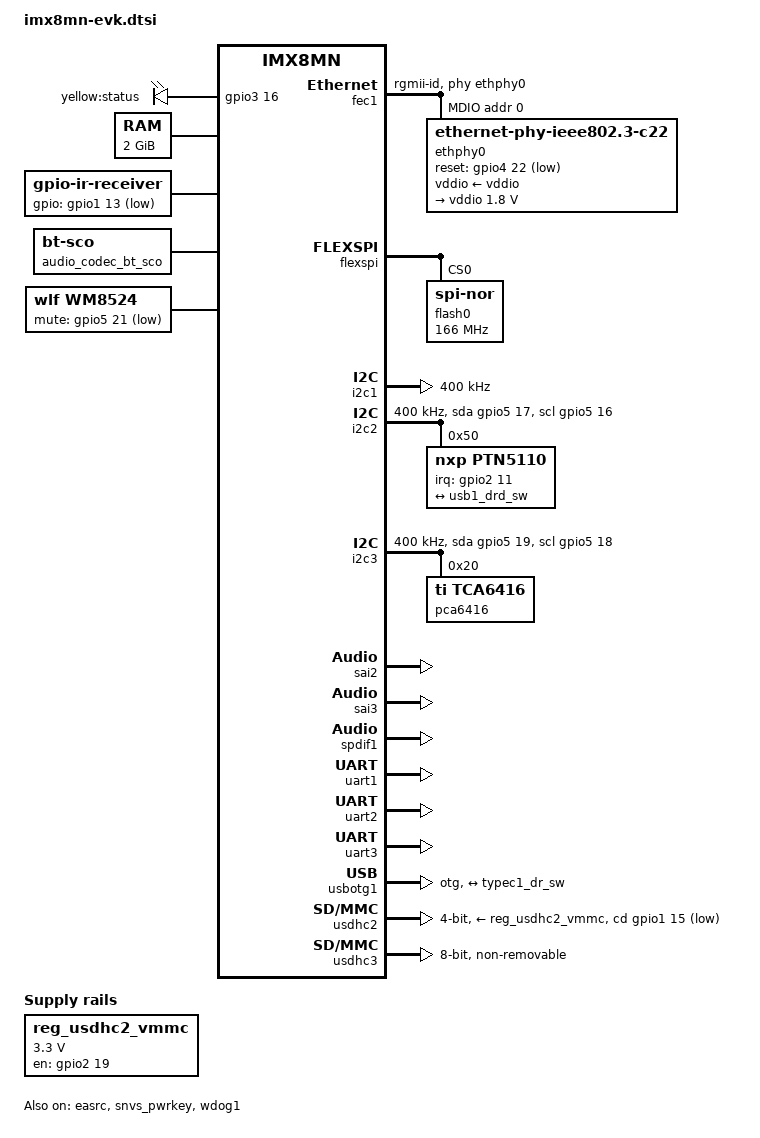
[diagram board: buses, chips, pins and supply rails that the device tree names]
// SPDX-License-Identifier: (GPL-2.0+ OR MIT)
/*
 * Copyright 2019 NXP
 */

#include <dt-bindings/usb/pd.h>
#include "imx8mn.dtsi"

/ {
	chosen {
		stdout-path = &uart2;
	};

	gpio-leds {
		compatible = "gpio-leds";
		pinctrl-names = "default";
		pinctrl-0 = <&pinctrl_gpio_led>;

		status {
			label = "yellow:status";
			gpios = <&gpio3 16 GPIO_ACTIVE_HIGH>;
			default-state = "on";
		};
	};

	memory@40000000 {
		device_type = "memory";
		reg = <0x0 0x40000000 0 0x80000000>;
	};

	reg_usdhc2_vmmc: regulator-usdhc2 {
		compatible = "regulator-fixed";
		pinctrl-names = "default";
		pinctrl-0 = <&pinctrl_reg_usdhc2_vmmc>;
		regulator-name = "VSD_3V3";
		regulator-min-microvolt = <3300000>;
		regulator-max-microvolt = <3300000>;
		gpio = <&gpio2 19 GPIO_ACTIVE_HIGH>;
		off-on-delay-us = <12000>;
		enable-active-high;
	};

	ir-receiver {
		compatible = "gpio-ir-receiver";
		gpios = <&gpio1 13 GPIO_ACTIVE_LOW>;
		pinctrl-names = "default";
		pinctrl-0 = <&pinctrl_ir>;
		linux,autosuspend-period = <125>;
	};

	audio_codec_bt_sco: audio-codec-bt-sco {
		compatible = "linux,bt-sco";
		#sound-dai-cells = <1>;
	};

	wm8524: audio-codec {
		#sound-dai-cells = <0>;
		compatible = "wlf,wm8524";
		pinctrl-names = "default";
		pinctrl-0 = <&pinctrl_gpio_wlf>;
		wlf,mute-gpios = <&gpio5 21 GPIO_ACTIVE_LOW>;
		clocks = <&clk IMX8MN_CLK_SAI3_ROOT>;
		clock-names = "mclk";
	};

	sound-bt-sco {
		compatible = "simple-audio-card";
		simple-audio-card,name = "bt-sco-audio";
		simple-audio-card,format = "dsp_a";
		simple-audio-card,bitclock-inversion;
		simple-audio-card,frame-master = <&btcpu>;
		simple-audio-card,bitclock-master = <&btcpu>;

		btcpu: simple-audio-card,cpu {
			sound-dai = <&sai2>;
			dai-tdm-slot-num = <2>;
			dai-tdm-slot-width = <16>;
		};

		simple-audio-card,codec {
			sound-dai = <&audio_codec_bt_sco 1>;
		};
	};

	sound-wm8524 {
		compatible = "fsl,imx-audio-wm8524";
		model = "wm8524-audio";
		audio-cpu = <&sai3>;
		audio-codec = <&wm8524>;
		audio-asrc = <&easrc>;
		audio-routing =
			"Line Out Jack", "LINEVOUTL",
			"Line Out Jack", "LINEVOUTR";
	};

	sound-spdif {
		compatible = "fsl,imx-audio-spdif";
		model = "imx-spdif";
		spdif-controller = <&spdif1>;
		spdif-out;
		spdif-in;
	};
};

&easrc {
	fsl,asrc-rate = <48000>;
	status = "okay";
};

&fec1 {
	pinctrl-names = "default";
	pinctrl-0 = <&pinctrl_fec1>;
	phy-mode = "rgmii-id";
	phy-handle = <&ethphy0>;
	fsl,magic-packet;
	status = "okay";

	mdio {
		#address-cells = <1>;
		#size-cells = <0>;

		ethphy0: ethernet-phy@0 {
			compatible = "ethernet-phy-ieee802.3-c22";
			reg = <0>;
			reset-gpios = <&gpio4 22 GPIO_ACTIVE_LOW>;
			reset-assert-us = <10000>;
			qca,disable-smarteee;
			vddio-supply = <&vddio>;

			vddio: vddio-regulator {
				regulator-min-microvolt = <1800000>;
				regulator-max-microvolt = <1800000>;
			};
		};
	};
};

&flexspi {
	pinctrl-names = "default";
	pinctrl-0 = <&pinctrl_flexspi>;
	status = "okay";

	flash0: flash@0 {
		compatible = "jedec,spi-nor";
		reg = <0>;
		#address-cells = <1>;
		#size-cells = <1>;
		spi-max-frequency = <166000000>;
		spi-tx-bus-width = <4>;
		spi-rx-bus-width = <4>;
	};
};

&i2c1 {
	clock-frequency = <400000>;
	pinctrl-names = "default";
	pinctrl-0 = <&pinctrl_i2c1>;
	status = "okay";
};

&i2c2 {
	clock-frequency = <400000>;
	pinctrl-names = "default", "gpio";
	pinctrl-0 = <&pinctrl_i2c2>;
	pinctrl-1 = <&pinctrl_i2c2_gpio>;
	scl-gpios = <&gpio5 16 GPIO_ACTIVE_HIGH>;
	sda-gpios = <&gpio5 17 GPIO_ACTIVE_HIGH>;
	status = "okay";

	ptn5110: tcpc@50 {
		compatible = "nxp,ptn5110";
		pinctrl-names = "default";
		pinctrl-0 = <&pinctrl_typec1>;
		reg = <0x50>;
		interrupt-parent = <&gpio2>;
		interrupts = <11 IRQ_TYPE_LEVEL_LOW>;
		status = "okay";

		port {
			typec1_dr_sw: endpoint {
				remote-endpoint = <&usb1_drd_sw>;
			};
		};

		typec1_con: connector {
			compatible = "usb-c-connector";
			label = "USB-C";
			power-role = "dual";
			data-role = "dual";
			try-power-role = "sink";
			source-pdos = <PDO_FIXED(5000, 3000, PDO_FIXED_USB_COMM)>;
			sink-pdos = <PDO_FIXED(5000, 3000, PDO_FIXED_USB_COMM)
				     PDO_VAR(5000, 20000, 3000)>;
			op-sink-microwatt = <15000000>;
			self-powered;
		};
	};
};

&i2c3 {
	clock-frequency = <400000>;
	pinctrl-names = "default", "gpio";
	pinctrl-0 = <&pinctrl_i2c3>;
	pinctrl-1 = <&pinctrl_i2c3_gpio>;
	scl-gpios = <&gpio5 18 GPIO_ACTIVE_HIGH>;
	sda-gpios = <&gpio5 19 GPIO_ACTIVE_HIGH>;
	status = "okay";

	pca6416: gpio@20 {
		compatible = "ti,tca6416";
		reg = <0x20>;
		gpio-controller;
		#gpio-cells = <2>;
	};
};

&sai2 {
	#sound-dai-cells = <0>;
	pinctrl-names = "default";
	pinctrl-0 = <&pinctrl_sai2>;
	assigned-clocks = <&clk IMX8MN_CLK_SAI2>;
	assigned-clock-parents = <&clk IMX8MN_AUDIO_PLL1_OUT>;
	assigned-clock-rates = <24576000>;
	status = "okay";
};

&sai3 {
	pinctrl-names = "default";
	pinctrl-0 = <&pinctrl_sai3>;
	assigned-clocks = <&clk IMX8MN_CLK_SAI3>;
	assigned-clock-parents = <&clk IMX8MN_AUDIO_PLL1_OUT>;
	assigned-clock-rates = <24576000>;
	fsl,sai-mclk-direction-output;
	status = "okay";
};

&snvs_pwrkey {
	status = "okay";
};

&spdif1 {
	pinctrl-names = "default";
	pinctrl-0 = <&pinctrl_spdif1>;
	assigned-clocks = <&clk IMX8MN_CLK_SPDIF1>;
	assigned-clock-parents = <&clk IMX8MN_AUDIO_PLL1_OUT>;
	assigned-clock-rates = <24576000>;
	status = "okay";
};

&uart1 { /* BT */
	pinctrl-names = "default";
	pinctrl-0 = <&pinctrl_uart1>;
	assigned-clocks = <&clk IMX8MN_CLK_UART1>;
	assigned-clock-parents = <&clk IMX8MN_SYS_PLL1_80M>;
	uart-has-rtscts;
	status = "okay";
};

&uart2 { /* console */
	pinctrl-names = "default";
	pinctrl-0 = <&pinctrl_uart2>;
	status = "okay";
};

&uart3 {
	pinctrl-names = "default";
	pinctrl-0 = <&pinctrl_uart3>;
	assigned-clocks = <&clk IMX8MN_CLK_UART3>;
	assigned-clock-parents = <&clk IMX8MN_SYS_PLL1_80M>;
	uart-has-rtscts;
	status = "okay";
};

&usbphynop1 {
	wakeup-source;
};

&usbotg1 {
	dr_mode = "otg";
	hnp-disable;
	srp-disable;
	adp-disable;
	usb-role-switch;
	disable-over-current;
	samsung,picophy-pre-emp-curr-control = <3>;
	samsung,picophy-dc-vol-level-adjust = <7>;
	status = "okay";

	port {
		usb1_drd_sw: endpoint {
			remote-endpoint = <&typec1_dr_sw>;
		};
	};
};

&usdhc2 {
	assigned-clocks = <&clk IMX8MN_CLK_USDHC2>;
	assigned-clock-rates = <200000000>;
	pinctrl-names = "default", "state_100mhz", "state_200mhz";
	pinctrl-0 = <&pinctrl_usdhc2>, <&pinctrl_usdhc2_gpio>;
	pinctrl-1 = <&pinctrl_usdhc2_100mhz>, <&pinctrl_usdhc2_gpio>;
	pinctrl-2 = <&pinctrl_usdhc2_200mhz>, <&pinctrl_usdhc2_gpio>;
	cd-gpios = <&gpio1 15 GPIO_ACTIVE_LOW>;
	bus-width = <4>;
	vmmc-supply = <&reg_usdhc2_vmmc>;
	status = "okay";
};

&usdhc3 {
	assigned-clocks = <&clk IMX8MN_CLK_USDHC3_ROOT>;
	assigned-clock-rates = <400000000>;
	pinctrl-names = "default", "state_100mhz", "state_200mhz";
	pinctrl-0 = <&pinctrl_usdhc3>;
	pinctrl-1 = <&pinctrl_usdhc3_100mhz>;
	pinctrl-2 = <&pinctrl_usdhc3_200mhz>;
	bus-width = <8>;
	non-removable;
	status = "okay";
};

&wdog1 {
	pinctrl-names = "default";
	pinctrl-0 = <&pinctrl_wdog>;
	fsl,ext-reset-output;
	status = "okay";
};

&iomuxc {
	pinctrl_fec1: fec1grp {
		fsl,pins = <
			MX8MN_IOMUXC_ENET_MDC_ENET1_MDC		0x3
			MX8MN_IOMUXC_ENET_MDIO_ENET1_MDIO	0x3
			MX8MN_IOMUXC_ENET_TD3_ENET1_RGMII_TD3	0x1f
			MX8MN_IOMUXC_ENET_TD2_ENET1_RGMII_TD2	0x1f
			MX8MN_IOMUXC_ENET_TD1_ENET1_RGMII_TD1	0x1f
			MX8MN_IOMUXC_ENET_TD0_ENET1_RGMII_TD0	0x1f
			MX8MN_IOMUXC_ENET_RD3_ENET1_RGMII_RD3	0x91
			MX8MN_IOMUXC_ENET_RD2_ENET1_RGMII_RD2	0x91
			MX8MN_IOMUXC_ENET_RD1_ENET1_RGMII_RD1	0x91
			MX8MN_IOMUXC_ENET_RD0_ENET1_RGMII_RD0	0x91
			MX8MN_IOMUXC_ENET_TXC_ENET1_RGMII_TXC	0x1f
			MX8MN_IOMUXC_ENET_RXC_ENET1_RGMII_RXC	0x91
			MX8MN_IOMUXC_ENET_RX_CTL_ENET1_RGMII_RX_CTL	0x91
			MX8MN_IOMUXC_ENET_TX_CTL_ENET1_RGMII_TX_CTL	0x1f
			MX8MN_IOMUXC_SAI2_RXC_GPIO4_IO22	0x19
		>;
	};

	pinctrl_flexspi: flexspigrp {
		fsl,pins = <
			MX8MN_IOMUXC_NAND_ALE_QSPI_A_SCLK               0x1c2
			MX8MN_IOMUXC_NAND_CE0_B_QSPI_A_SS0_B            0x82
			MX8MN_IOMUXC_NAND_DATA00_QSPI_A_DATA0           0x82
			MX8MN_IOMUXC_NAND_DATA01_QSPI_A_DATA1           0x82
			MX8MN_IOMUXC_NAND_DATA02_QSPI_A_DATA2           0x82
			MX8MN_IOMUXC_NAND_DATA03_QSPI_A_DATA3           0x82
		>;
	};

	pinctrl_gpio_led: gpioledgrp {
		fsl,pins = <
			MX8MN_IOMUXC_NAND_READY_B_GPIO3_IO16	0x19
		>;
	};

	pinctrl_gpio_wlf: gpiowlfgrp {
		fsl,pins = <
			MX8MN_IOMUXC_I2C4_SDA_GPIO5_IO21	0xd6
		>;
	};

	pinctrl_ir: irgrp {
		fsl,pins = <
			MX8MN_IOMUXC_GPIO1_IO13_GPIO1_IO13              0x4f
		>;
	};

	pinctrl_i2c1: i2c1grp {
		fsl,pins = <
			MX8MN_IOMUXC_I2C1_SCL_I2C1_SCL		0x400001c3
			MX8MN_IOMUXC_I2C1_SDA_I2C1_SDA		0x400001c3
		>;
	};

	pinctrl_i2c2: i2c2grp {
		fsl,pins = <
			MX8MN_IOMUXC_I2C2_SCL_I2C2_SCL		0x400001c3
			MX8MN_IOMUXC_I2C2_SDA_I2C2_SDA		0x400001c3
		>;
	};

	pinctrl_i2c2_gpio: i2c2grp-gpio {
		fsl,pins = <
			MX8MN_IOMUXC_I2C2_SCL_GPIO5_IO16	0x1c3
			MX8MN_IOMUXC_I2C2_SDA_GPIO5_IO17	0x1c3
		>;
	};

	pinctrl_i2c3: i2c3grp {
		fsl,pins = <
			MX8MN_IOMUXC_I2C3_SCL_I2C3_SCL		0x400001c3
			MX8MN_IOMUXC_I2C3_SDA_I2C3_SDA		0x400001c3
		>;
	};

	pinctrl_i2c3_gpio: i2c3grp-gpio {
		fsl,pins = <
			MX8MN_IOMUXC_I2C3_SCL_GPIO5_IO18	0x1c3
			MX8MN_IOMUXC_I2C3_SDA_GPIO5_IO19	0x1c3
		>;
	};

	pinctrl_pmic: pmicirqgrp {
		fsl,pins = <
			MX8MN_IOMUXC_GPIO1_IO03_GPIO1_IO3	0x141
		>;
	};

	pinctrl_reg_usdhc2_vmmc: regusdhc2vmmcgrp {
		fsl,pins = <
			MX8MN_IOMUXC_SD2_RESET_B_GPIO2_IO19	0x41
		>;
	};

	pinctrl_sai2: sai2grp {
		fsl,pins = <
			MX8MN_IOMUXC_SAI2_TXC_SAI2_TX_BCLK      0xd6
			MX8MN_IOMUXC_SAI2_TXFS_SAI2_TX_SYNC     0xd6
			MX8MN_IOMUXC_SAI2_TXD0_SAI2_TX_DATA0    0xd6
			MX8MN_IOMUXC_SAI2_RXD0_SAI2_RX_DATA0    0xd6
		>;
	};

	pinctrl_sai3: sai3grp {
		fsl,pins = <
			MX8MN_IOMUXC_SAI3_TXFS_SAI3_TX_SYNC     0xd6
			MX8MN_IOMUXC_SAI3_TXC_SAI3_TX_BCLK      0xd6
			MX8MN_IOMUXC_SAI3_MCLK_SAI3_MCLK        0xd6
			MX8MN_IOMUXC_SAI3_TXD_SAI3_TX_DATA0     0xd6
		>;
	};

	pinctrl_spdif1: spdif1grp {
		fsl,pins = <
			MX8MN_IOMUXC_SPDIF_TX_SPDIF1_OUT	0xd6
			MX8MN_IOMUXC_SPDIF_RX_SPDIF1_IN		0xd6
		>;
	};

	pinctrl_typec1: typec1grp {
		fsl,pins = <
			MX8MN_IOMUXC_SD1_STROBE_GPIO2_IO11	0x159
		>;
	};

	pinctrl_uart1: uart1grp {
		fsl,pins = <
			MX8MN_IOMUXC_UART1_RXD_UART1_DCE_RX	0x140
			MX8MN_IOMUXC_UART1_TXD_UART1_DCE_TX	0x140
			MX8MN_IOMUXC_UART3_RXD_UART1_DCE_CTS_B	0x140
			MX8MN_IOMUXC_UART3_TXD_UART1_DCE_RTS_B	0x140
		>;
	};

	pinctrl_uart2: uart2grp {
		fsl,pins = <
			MX8MN_IOMUXC_UART2_RXD_UART2_DCE_RX	0x140
			MX8MN_IOMUXC_UART2_TXD_UART2_DCE_TX	0x140
		>;
	};

	pinctrl_uart3: uart3grp {
		fsl,pins = <
			MX8MN_IOMUXC_ECSPI1_SCLK_UART3_DCE_RX		0x140
			MX8MN_IOMUXC_ECSPI1_MOSI_UART3_DCE_TX		0x140
			MX8MN_IOMUXC_ECSPI1_SS0_UART3_DCE_RTS_B	0x140
			MX8MN_IOMUXC_ECSPI1_MISO_UART3_DCE_CTS_B	0x140
		>;
	};

	pinctrl_usdhc2_gpio: usdhc2gpiogrp {
		fsl,pins = <
			MX8MN_IOMUXC_GPIO1_IO15_GPIO1_IO15	0x1c4
		>;
	};

	pinctrl_usdhc2: usdhc2grp {
		fsl,pins = <
			MX8MN_IOMUXC_SD2_CLK_USDHC2_CLK		0x190
			MX8MN_IOMUXC_SD2_CMD_USDHC2_CMD		0x1d0
			MX8MN_IOMUXC_SD2_DATA0_USDHC2_DATA0	0x1d0
			MX8MN_IOMUXC_SD2_DATA1_USDHC2_DATA1	0x1d0
			MX8MN_IOMUXC_SD2_DATA2_USDHC2_DATA2	0x1d0
			MX8MN_IOMUXC_SD2_DATA3_USDHC2_DATA3	0x1d0
			MX8MN_IOMUXC_GPIO1_IO04_USDHC2_VSELECT	0x1d0
		>;
	};

	pinctrl_usdhc2_100mhz: usdhc2-100mhzgrp {
		fsl,pins = <
			MX8MN_IOMUXC_SD2_CLK_USDHC2_CLK		0x194
			MX8MN_IOMUXC_SD2_CMD_USDHC2_CMD		0x1d4
			MX8MN_IOMUXC_SD2_DATA0_USDHC2_DATA0	0x1d4
			MX8MN_IOMUXC_SD2_DATA1_USDHC2_DATA1	0x1d4
			MX8MN_IOMUXC_SD2_DATA2_USDHC2_DATA2	0x1d4
			MX8MN_IOMUXC_SD2_DATA3_USDHC2_DATA3	0x1d4
			MX8MN_IOMUXC_GPIO1_IO04_USDHC2_VSELECT	0x1d0
		>;
	};

	pinctrl_usdhc2_200mhz: usdhc2-200mhzgrp {
		fsl,pins = <
			MX8MN_IOMUXC_SD2_CLK_USDHC2_CLK		0x196
			MX8MN_IOMUXC_SD2_CMD_USDHC2_CMD		0x1d6
			MX8MN_IOMUXC_SD2_DATA0_USDHC2_DATA0	0x1d6
			MX8MN_IOMUXC_SD2_DATA1_USDHC2_DATA1	0x1d6
			MX8MN_IOMUXC_SD2_DATA2_USDHC2_DATA2	0x1d6
			MX8MN_IOMUXC_SD2_DATA3_USDHC2_DATA3	0x1d6
			MX8MN_IOMUXC_GPIO1_IO04_USDHC2_VSELECT	0x1d0
		>;
	};

	pinctrl_usdhc3: usdhc3grp {
		fsl,pins = <
			MX8MN_IOMUXC_NAND_WE_B_USDHC3_CLK		0x40000190
			MX8MN_IOMUXC_NAND_WP_B_USDHC3_CMD		0x1d0
			MX8MN_IOMUXC_NAND_DATA04_USDHC3_DATA0		0x1d0
			MX8MN_IOMUXC_NAND_DATA05_USDHC3_DATA1		0x1d0
			MX8MN_IOMUXC_NAND_DATA06_USDHC3_DATA2		0x1d0
			MX8MN_IOMUXC_NAND_DATA07_USDHC3_DATA3		0x1d0
			MX8MN_IOMUXC_NAND_RE_B_USDHC3_DATA4		0x1d0
			MX8MN_IOMUXC_NAND_CE2_B_USDHC3_DATA5		0x1d0
			MX8MN_IOMUXC_NAND_CE3_B_USDHC3_DATA6		0x1d0
			MX8MN_IOMUXC_NAND_CLE_USDHC3_DATA7		0x1d0
			MX8MN_IOMUXC_NAND_CE1_B_USDHC3_STROBE		0x190
		>;
	};

	pinctrl_usdhc3_100mhz: usdhc3-100mhzgrp {
		fsl,pins = <
			MX8MN_IOMUXC_NAND_WE_B_USDHC3_CLK		0x40000194
			MX8MN_IOMUXC_NAND_WP_B_USDHC3_CMD		0x1d4
			MX8MN_IOMUXC_NAND_DATA04_USDHC3_DATA0		0x1d4
			MX8MN_IOMUXC_NAND_DATA05_USDHC3_DATA1		0x1d4
			MX8MN_IOMUXC_NAND_DATA06_USDHC3_DATA2		0x1d4
			MX8MN_IOMUXC_NAND_DATA07_USDHC3_DATA3		0x1d4
			MX8MN_IOMUXC_NAND_RE_B_USDHC3_DATA4		0x1d4
			MX8MN_IOMUXC_NAND_CE2_B_USDHC3_DATA5		0x1d4
			MX8MN_IOMUXC_NAND_CE3_B_USDHC3_DATA6		0x1d4
			MX8MN_IOMUXC_NAND_CLE_USDHC3_DATA7		0x1d4
			MX8MN_IOMUXC_NAND_CE1_B_USDHC3_STROBE		0x194
		>;
	};

	pinctrl_usdhc3_200mhz: usdhc3-200mhzgrp {
		fsl,pins = <
			MX8MN_IOMUXC_NAND_WE_B_USDHC3_CLK		0x40000196
			MX8MN_IOMUXC_NAND_WP_B_USDHC3_CMD		0x1d6
			MX8MN_IOMUXC_NAND_DATA04_USDHC3_DATA0		0x1d6
			MX8MN_IOMUXC_NAND_DATA05_USDHC3_DATA1		0x1d6
			MX8MN_IOMUXC_NAND_DATA06_USDHC3_DATA2		0x1d6
			MX8MN_IOMUXC_NAND_DATA07_USDHC3_DATA3		0x1d6
			MX8MN_IOMUXC_NAND_RE_B_USDHC3_DATA4		0x1d6
			MX8MN_IOMUXC_NAND_CE2_B_USDHC3_DATA5		0x1d6
			MX8MN_IOMUXC_NAND_CE3_B_USDHC3_DATA6		0x1d6
			MX8MN_IOMUXC_NAND_CLE_USDHC3_DATA7		0x1d6
			MX8MN_IOMUXC_NAND_CE1_B_USDHC3_STROBE		0x196
		>;
	};

	pinctrl_wdog: wdoggrp {
		fsl,pins = <
			MX8MN_IOMUXC_GPIO1_IO02_WDOG1_WDOG_B		0x166
		>;
	};
};
